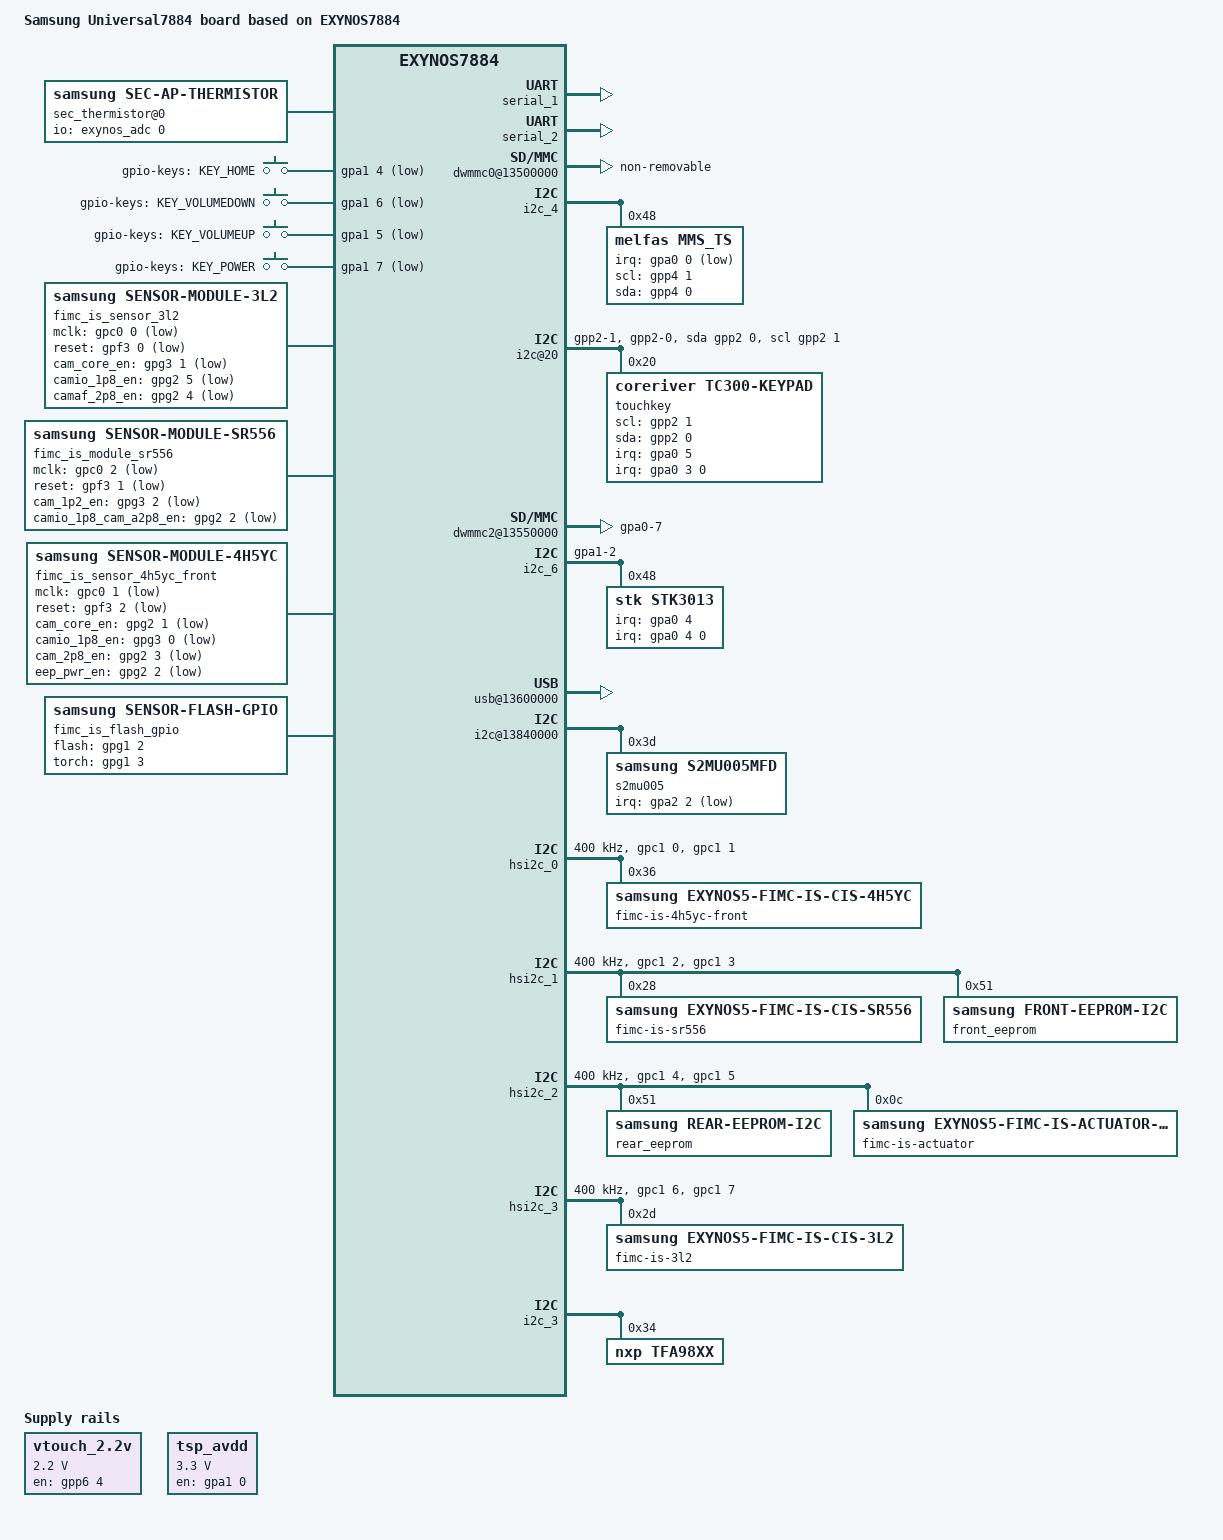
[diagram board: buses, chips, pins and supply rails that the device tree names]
/*
 * SAMSUNG UNIVERSAL7885 board device tree source
 *
 * Copyright (c) 2013 Samsung Electronics Co., Ltd.
 *		http://www.samsung.com
 *
 * This program is free software; you can redistribute it and/or modify
 * it under the terms of the GNU General Public License version 2 as
 * published by the Free Software Foundation.
 */

#include "exynos7884-rmem.dtsi"
#include "exynos7885.dtsi"
#include "display-lcd_j7duo_common.dtsi"
#include "modem-s327ap-sipc-pdata.dtsi"
#include "battery_data_j7duolte_common.dtsi"
#include "exynos7884-j7duolte_motor.dtsi"
#include "exynos7884-mali.dtsi"
/ {
	model = "Samsung Universal7884 board based on EXYNOS7884";
	compatible = "samsung,exynos7884", "samsung,Universal7884";

	ect {
		parameter_address = <0x90000000>;
		parameter_size = <0x19000>;
	};

	memory@80000000 {
		device_type = "memory";
		reg = <0x0 0x80000000 0x3DA00000>;
	};

	memory@C0000000 {
		device_type = "memory";
		reg = <0x0 0xC0000000 0x40000000>;
	};

	memory@880000000 {
		device_type = "memory";
		reg = <0x00000008 0x80000000 0x0>;
	};

	chosen {
		bootargs = "console=ram root=/dev/ram0 clk_ignore_unused androidboot.hardware=samsungexynos7885 androidboot.selinux=permissive ess_setup=0x86000000 androidboot.debug_level=0x4948";
		linux,initrd-start = <0x84000000>;
		linux,initrd-end = <0x840FFFFF>;
	};

	fixed-rate-clocks {
		oscclk {
			compatible = "samsung,exynos7885-oscclk";
			clock-frequency = <26000000>;
		};
	};

#if (ANDROID_VERSION >= 80000)
	firmware {
		android {
			compatible = "android,firmware";
			fstab {
				compatible = "android,fstab";
				system {
					compatible = "android,system";
					dev = "/dev/block/platform/13500000.dwmmc0/by-name/SYSTEM";
					type = "ext4";
					mnt_flags = "ro";
					fsmgr_flags = "wait,verify";
				};
				vendor {
					compatible = "android,vendor";
					dev = "/dev/block/platform/13500000.dwmmc0/by-name/VENDOR";
					type = "ext4";
					mnt_flags = "ro";
					fsmgr_flags = "wait,verify";
				};
				odm {
					compatible = "android,odm";
					dev = "/dev/block/platform/13500000.dwmmc0/by-name/ODM";
					type = "ext4";
					mnt_flags = "ro";
					fsmgr_flags = "wait,verify";
				};
			};
		};
	};
#endif

	/* USI MODE SETTINGS
	 * usi_mode = "hsi2c0" or "hsi2c1" or "spi" or "uart"
	 * or "hsi2c0_hsi2c1" or "uart_hsi2c1"
	 */
	usi_0: usi@10032000 {
		usi_mode = "spi";
		status = "okay";
	};

	usi_1: usi@10032004 {
		usi_mode = "spi";
		status = "okay";
	};

	usi_2: usi@10032008 {
		usi_mode = "hsi2c1";
		status = "okay";
	};

	serial_1: uart@13810000 {
		status = "okay";
	};

	pinctrl@11CB0000 {
		pmic_irq: pmic-irq {
			samsung,pins = "gpa2-0";
			samsung,pin-pud = <3>;
			samsung,pin-drv = <3>;
		};
	};

	pinctrl@139B0000 {
		/* Warm reset information from AP */
		pm_wrsti: pm-wrsti {
			samsung,pins = "gpg1-1";
			samsung,pin-con-pdn = <3>;
		};
		mot_en: mot_enable {
			samsung,pins = "gpp0-3";
			samsung,pin-pud = <1>;
			samsung,pin-drv = <0>;
		};
	};

	pinctrl@139B0000 {
		/* SPI_FP */
		spi1_bus_inactive: spi1-bus-inactive {
			samsung,pins = "gpp6-0", "gpp6-1", "gpp6-2", "gpp6-3";
			samsung,pin-function = <0>;
			samsung,pin-pud = <1>;
			samsung,pin-drv = <2>;
		};
		spi1_clk: spi1-clk {
			samsung,pins = "gpp6-0";
			samsung,pin-function = <2>;
			samsung,pin-pud = <1>;
			samsung,pin-drv = <2>;
		};
		spi1_cs: spi1-cs {
			samsung,pins = "gpp6-1";
			samsung,pin-function = <2>;
			samsung,pin-pud = <3>;
			samsung,pin-drv = <2>;
		};
		spi1_miso: spi1-miso {
			samsung,pins = "gpp6-2";
			samsung,pin-function = <2>;
			samsung,pin-pud = <0>;
			samsung,pin-drv = <2>;
		};
		spi1_mosi: spi1-mosi {
			samsung,pins = "gpp6-3";
			samsung,pin-function = <2>;
			samsung,pin-pud = <1>;
			samsung,pin-drv = <2>;
		};
	};

	but_zones: but_zones {
		#list-but-cells = <3>;
	};

	speedy@11CE0000 {
		status = "okay";
		audio_codec_cod3035x: cod3035x@03 {
		compatible = "codec,cod3035x";
		reg = <0x03>;
		i2c-speedy-address;
		vdd-supply = <&l36_reg>;
		pinctrl-names = "default";
		mic-bias1-voltage = <1>;
		mic-bias2-voltage = <1>;
		mic-bias-ldo-voltage = <3>;
		use-btn-adc-mode;
		use-det-gdet-adc-mode = <1>;
		jack-imp-tuning = <9>;
		io-channels = <&exynos_adc 3>,<&exynos_adc 7>;
		io-channel-names = "adc-ear","adc-gdet";
		#io-channel-cells = <1>;
		io-channel-ranges;
		but-zones-list = <&but_zones 226 0 257>,
		<&but_zones 582 258 333>,
		<&but_zones 115 334 524>,
		<&but_zones 114 525 9999>;
		mic-adc-range = <1351>;
		};

		s2mpu08mfd@00 {
			compatible = "samsung,s2mpu08mfd";
			acpm-ipc-channel = <2>;
			i2c-speedy-address;
			s2mpu08,wakeup = "enabled";
			s2mpu08,irq-gpio = <&gpa2 0 0>;
			reg = <0x00>;
			interrupts = <2 0 0>;
			interrupt-parent = <&gpa2>;
			pinctrl-names = "default";
			pinctrl-0 = <&pmic_irq &pm_wrsti>;
			/* RTC: wtsr/smpl */
			wtsr_en = "enabled"; /* enable */
			smpl_en = "enabled"; /* enable */
			wtsr_timer_val = <3>;	/* 1000ms */
			smpl_timer_val = <4>;	/* 500ms */
			check_jigon = <0>; /* do not check jigon */
			/* RTC: If it's first boot, reset rtc to 1/1/2018 12:00:00(Mon) */
			init_time,sec = <0>;
			init_time,min = <0>;
			init_time,hour = <12>;
			init_time,mday = <1>;
			init_time,mon = <0>;
			init_time,year = <118>;
			init_time,wday = <1>;

			samsung,codec-interrupt = <&audio_codec_cod3035x>;

			regulators {
				b1_reg: BUCK1 {
					regulator-name = "vdd_mif";
					regulator-min-microvolt = <500000>;
					regulator-max-microvolt = <1100000>;
					regulator-always-on;
					regulator-ramp-delay = <12000>;
					regulator-initial-mode = <2>;
				};

				b2_reg: BUCK2 {
					regulator-name = "vdd_cpucl0";
					regulator-min-microvolt = <500000>;
					regulator-max-microvolt = <1300000>;
					regulator-always-on;
					regulator-ramp-delay = <12000>;
					regulator-initial-mode = <1>;
				};

				b3_reg: BUCK3 {
					regulator-name = "vdd_cpucl1_2";
					regulator-min-microvolt = <500000>;
					regulator-max-microvolt = <1300000>;
					regulator-always-on;
					regulator-ramp-delay = <12000>;
					regulator-initial-mode = <1>;
				};

				b4_reg: BUCK4 {
					regulator-name = "vdd_int";
					regulator-min-microvolt = <500000>;
					regulator-max-microvolt = <1200000>;
					regulator-always-on;
					regulator-ramp-delay = <12000>;
					regulator-initial-mode = <2>;
				};

				b5_reg: BUCK5 {
					regulator-name = "vdd_g3d";
					regulator-min-microvolt = <500000>;
					regulator-max-microvolt = <1300000>;
					regulator-always-on;
					regulator-ramp-delay = <12000>;
					regulator-initial-mode = <1>;
				};

				b6_reg: BUCK6 {
					regulator-name = "vdd2_mem";
					regulator-min-microvolt = <500000>;
					regulator-max-microvolt = <1300000>;
					regulator-always-on;
					regulator-ramp-delay = <12000>;
					regulator-initial-mode = <3>;
				};

				b7_reg: BUCK7 {
					regulator-name = "vdd_lldo";
					regulator-min-microvolt = <1200000>;
					regulator-max-microvolt = <1500000>;
					regulator-always-on;
					regulator-boot-on;
					regulator-ramp-delay = <12000>;
					regulator-initial-mode = <3>;
				};

				b8_reg: BUCK8 {
					regulator-name = "vdd_mldo";
					regulator-min-microvolt = <1800000>;
					regulator-max-microvolt = <2100000>;
					regulator-always-on;
					regulator-ramp-delay = <12000>;
					regulator-initial-mode = <3>;
				};

				l1_reg: LDO1 {
					regulator-name = "vdd_ldo1";
					regulator-min-microvolt = <700000>;
					regulator-max-microvolt = <1300000>;
					regulator-always-on;
					regulator-ramp-delay = <12000>;
					regulator-initial-mode = <3>;
				};

				l2_reg: LDO2 {
					regulator-name = "vqmmc";
					regulator-min-microvolt = <1800000>;
					regulator-max-microvolt = <3375000>;
					regulator-ramp-delay = <12000>;
				};

				l3_reg: LDO3 {
					regulator-name = "vdd_ldo3";
					regulator-min-microvolt = <800000>;
					regulator-max-microvolt = <1950000>;
					regulator-always-on;
					regulator-ramp-delay = <12000>;
					regulator-initial-mode = <3>;
				};

				l4_reg: LDO4 {
					regulator-name = "vdd_ldo4";
					regulator-min-microvolt = <500000>;
					regulator-max-microvolt = <1300000>;
					regulator-always-on;
					regulator-ramp-delay = <12000>;
					regulator-initial-mode = <1>;
				};

				l5_reg: LDO5 {
					regulator-name = "vdd_ldo5";
					regulator-min-microvolt = <800000>;
					regulator-max-microvolt = <1350000>;
					regulator-always-on;
					regulator-ramp-delay = <12000>;
					regulator-initial-mode = <1>;
				};

				l6_reg: LDO6 {
					regulator-name = "vdd_ldo6";
					regulator-min-microvolt = <800000>;
					regulator-max-microvolt = <1350000>;
					regulator-always-on;
					regulator-ramp-delay = <12000>;
					regulator-initial-mode = <1>;
				};

				l7_reg: LDO7 {
					regulator-name = "vdd_ldo7";
					regulator-min-microvolt = <800000>;
					regulator-max-microvolt = <1950000>;
					regulator-always-on;
					regulator-ramp-delay = <12000>;
					regulator-initial-mode = <1>;
				};

				l8_reg: LDO8 {
					regulator-name = "vdd_ldo8";
					regulator-min-microvolt = <500000>;
					regulator-max-microvolt = <1300000>;
					regulator-always-on;
					regulator-ramp-delay = <12000>;
					regulator-initial-mode = <1>;
				};

				l9_reg: LDO9 {
					regulator-name = "vdd_ldo9";
					regulator-min-microvolt = <500000>;
					regulator-max-microvolt = <1300000>;
					regulator-always-on;
					regulator-ramp-delay = <12000>;
					regulator-initial-mode = <1>;
				};

				l10_reg: LDO10 {
					regulator-name = "vdd_ldo10";
					regulator-min-microvolt = <500000>;
					regulator-max-microvolt = <1300000>;
					regulator-always-on;
					regulator-ramp-delay = <12000>;
					regulator-initial-mode = <1>;
				};

				l11_reg: LDO11 {
					regulator-name = "vdd_ldo11";
					regulator-min-microvolt = <500000>;
					regulator-max-microvolt = <1300000>;
					regulator-always-on;
					regulator-ramp-delay = <12000>;
					regulator-initial-mode = <1>;
				};

				l12_reg: LDO12 {
					regulator-name = "vdd_ldo12";
					regulator-min-microvolt = <800000>;
					regulator-max-microvolt = <1350000>;
					regulator-always-on;
					regulator-ramp-delay = <12000>;
					regulator-initial-mode = <1>;
				};

				l13_reg: LDO13 {
					regulator-name = "vdd_ldo13";
					regulator-min-microvolt = <800000>;
					regulator-max-microvolt = <1950000>;
					regulator-always-on;
					regulator-ramp-delay = <12000>;
					regulator-initial-mode = <1>;
				};

				l14_reg: LDO14 {
					regulator-name = "vdd_ldo14";
					regulator-min-microvolt = <1800000>;
					regulator-max-microvolt = <3375000>;
					regulator-always-on;
					regulator-ramp-delay = <12000>;
					regulator-initial-mode = <1>;
				};

				l33_reg: LDO33 {
					regulator-name = "vdd_ldo33";
					regulator-min-microvolt = <800000>;
					regulator-max-microvolt = <1950000>;
					regulator-always-on;
					regulator-ramp-delay = <12000>;
					regulator-initial-mode = <3>;
				};

				l34_reg: LDO34 {
					regulator-name = "vdd_ldo34";
					regulator-min-microvolt = <1800000>;
					regulator-max-microvolt = <3375000>;
					regulator-always-on;
					regulator-ramp-delay = <12000>;
					regulator-initial-mode = <3>;
				};

				l35_reg: LDO35 {
					regulator-name = "vmmc";
					regulator-min-microvolt = <1800000>;
					regulator-max-microvolt = <3000000>;
					regulator-ramp-delay = <12000>;
				};

				l36_reg: LDO36 {
					regulator-name = "vdd_ldo36";
					regulator-min-microvolt = <800000>;
					regulator-max-microvolt = <1950000>;
					regulator-always-on;
					regulator-ramp-delay = <12000>;
					regulator-initial-mode = <3>;
				};

				l37_reg: LDO37 {
					regulator-name = "vdd_ldo37";
					regulator-min-microvolt = <1800000>;
					regulator-max-microvolt = <3375000>;
					regulator-always-on;
					regulator-ramp-delay = <12000>;
					regulator-initial-mode = <3>;
				};
			};
		};
	};

	sec_thermistor@0 {
		compatible = "samsung,sec-ap-thermistor";
		status = "okay";

		adc_array = <265 314 376 437 511 602 728 789 845 896
				990 1087 1157 1225 1345 1368 1425 1484 1516 1739 1953 2176 2412
				2491 2609 2684 2723 2822 2912 3005 3107 3163 3307 3397 3484>;
		temp_array = <900 850 800 750 700 650 600 570 550 530
				500 470 450 430 410 400 380 360 350 300 250 200 150
				130 100 80 70 50 30 0 (-30) (-50) (-100) (-150) (-200)>;
		io-channels = <&exynos_adc 0>;
		io-channel-names = "adc-ap-temp";
		io-channel-ranges;
	};

	exynos_rgt {
		compatible = "samsung,exynos-rgt";
	};

	serial_2: uart@13820000 {
		samsung,uart-logging;
		status = "okay";
	};

	pinctrl@11CB0000 {
		dwmmc2_cd_ext_irq: dwmmc2_cd_ext_irq {
			samsung,pins = "gpa0-7";
			samsung,pin-function = <0xf>;
			samsung,pin-pud = <0>;
			samsung,pin-drv = <3>;
		};
	};

	dwmmc0@13500000 {
		status = "okay";
		num-slots = <1>;
		broken-cd;
		fixed_voltage;
		supports-highspeed;
		mmc-ddr-1_8v;
		mmc-hs200-1_8v;
		mmc-hs400-1_8v;
		supports-8bit;
		supports-cmd23;
		supports-erase;
		supports-hs400-enhanced-strobe;
		card-init-hwacg-ctrl;
		support-cmdq;
		qos-dvfs-level = <100000>;
		fifo-depth = <0x40>;
		non-removable;
		desc-size = <4>;
		card-detect-delay = <200>;
		samsung,dw-mshc-ciu-div = <3>;
		samsung,dw-mshc-txdt-crc-timer-fastlimit = <0x13>;
		samsung,dw-mshc-txdt-crc-timer-initval = <0x15>;
		samsung,dw-mshc-hs400-delay-line = <0x60>;
		samsung,dw-mshc-sdr-timing = <3 0 4 0>;
		samsung,dw-mshc-ddr-timing = <3 0 4 2>;
		samsung,dw-mshc-hs200-timing = <3 0 3 0>;
		samsung,dw-mshc-hs400-timing = <1 0 2 0>;
		samsung,dw-mshc-hs400-ulp-timing = <3 0 2 0>;

		num-ref-clks = <12>;
		ciu_clkin = <25 50 50 25 50 100 200 50 50 200 200 200>;

		/* Swapping clock drive strength */
		clk-drive-number = <4>;
		pinctrl-names = "default",
			"fast-slew-rate-1x",
			"fast-slew-rate-2x",
			"fast-slew-rate-3x",
			"fast-slew-rate-4x";
		pinctrl-0 = <&sd0_clk &sd0_cmd &sd0_rdqs &sd0_bus1 &sd0_bus4 &sd0_bus8>;
		pinctrl-1 = <&sd0_clk_fast_slew_rate_1x>;
		pinctrl-2 = <&sd0_clk_fast_slew_rate_2x>;
		pinctrl-3 = <&sd0_clk_fast_slew_rate_3x>;
		pinctrl-4 = <&sd0_clk_fast_slew_rate_4x>;
		slot@0 {
			reg = <0>;
			bus-width = <8>;
		};

	};

	dwmmc1@13510000 {
		status = "disabled";
		num-slots = <1>;
		channel = <1>;
		fixed_voltage;
		enable-cclk-on-suspend;
		caps-control;
		supports-highspeed;
		supports-4bit;
		keep-power-in-suspend;
		pm-ignore-notify;
		card-detect-type-external;
		use-broken-voltage;
		fifo-depth = <0x40>;
		card-detect-delay = <200>;
		qos-dvfs-level = <100000>;
		data-timeout = <200>;
		hto-timeout = <80>;
		samsung,dw-mshc-ciu-div = <3>;
		samsung,dw-mshc-sdr-timing = <3 0 2 0>;
		samsung,dw-mshc-ddr-timing = <3 0 2 1>;
		samsung,dw-mshc-sdr50-timing = <3 0 4 2>;
		samsung,dw-mshc-sdr104-timing = <3 0 3 0>;

		num-ref-clks = <9>;
		ciu_clkin = <25 50 50 25 50 100 200 50 50>;

		clk-drive-number = <4>;
		pinctrl-names = "default",
			"fast-slew-rate-1x",
			"fast-slew-rate-2x",
			"fast-slew-rate-3x",
			"fast-slew-rate-4x";
		pinctrl-0 = <&sd1_clk &sd1_cmd &sd1_bus1 &sd1_bus4>;
		pinctrl-1 = <&sd1_clk_fast_slew_rate_1x>;
		pinctrl-2 = <&sd1_clk_fast_slew_rate_2x>;
		pinctrl-3 = <&sd1_clk_fast_slew_rate_3x>;
		pinctrl-4 = <&sd1_clk_fast_slew_rate_4x>;
		slot@0 {
			reg = <0>;
			bus-width = <4>;
		};
	};

	pinctrl@139B0000 {
		i2c4_bus: i2c4-bus {
			samsung,pins = "gpp4-1", "gpp4-0";
			samsung,pin-function = <2>;
			samsung,pin-pud = <0>;
			samsung,pin-drv = <0>;
		};
		i2c_on: i2c-on {
			samsung,pins = "gpp4-1", "gpp4-0";
			samsung,pin-function = <2>;
			samsung,pin-pud = <0>;
			samsung,pin-drv = <0>;
		};
		i2c_off: i2c-off {
			samsung,pins = "gpp4-1", "gpp4-0";
			samsung,pin-function = <2>;
			samsung,pin-pud = <1>;
			samsung,pin-drv = <0>;
		};
		cfg_i2c: cfg-i2c {
			samsung,pins = "gpp2-1", "gpp2-0";
			samsung,pin-function = <2>;
			samsung,pin-pud = <0>;
			samsung,pin-drv = <0>;
		};
		cfg_gpio: cfg-gpio {
			samsung,pins = "gpp2-1", "gpp2-0";
			samsung,pin-function = <0>;
			samsung,pin-pud = <0>;
			samsung,pin-drv = <0>;
		};
	};

	pinctrl@11CB0000 {
		attn_irq: attn-irq {
			samsung,pins = "gpa0-0";
			samsung,pin-function = <0xf>;
			samsung,pin-pud = <0>;
			samsung,pin-drv = <0>;
		};
		attn_input: attn-input {
			samsung,pins = "gpa0-0";
			samsung,pin-function = <0>;
			samsung,pin-pud = <0>;
		};
		tkey_irq: tkey-irq {
			samsung,pins = "gpa0-5";
			samsung,pin-function = <0xf>;
			samsung,pin-pud = <0>;
			samsung,pin-drv = <0>;
		};
		tkey_input: tkey-input {
			samsung,pins = "gpa0-5";
			samsung,pin-function = <0>;
			samsung,pin-pud = <0>;
			samsung,pin-drv = <0>;
		};
	};

	touchkey_ldo_en {
		compatible = "regulator-fixed";
		regulator-name = "vtouch_2.2v";
		regulator-min-microvolt = <2200000>;
		regulator-max-microvolt = <2200000>;
		gpio = <&gpp6 4 0>;
		enable-active-high;
		regulator-boot-on;
	};

	tsp_ldo_en {
		compatible = "regulator-fixed";
		regulator-name = "tsp_avdd";
		regulator-min-microvolt = <3300000>;
		regulator-max-microvolt = <3300000>;
		gpio = <&gpa1 0 0>;
		enable-active-high;
		regulator-boot-on;
	};

	i2c_4: i2c@13870000 {
		samsung,i2c-sda-delay = <100>;
		samsung,i2c-max-bus-freq = <400000>;
		status = "okay";
		#address-cells = <1>;
		#size-cells = <0>;
		mms_ts@48 {
			compatible = "melfas,mms_ts";
			reg = <0x48>;
			pinctrl-names = "on_state", "off_state";
			pinctrl-0 = <&attn_irq>;
			pinctrl-1 = <&attn_input>;
			melfas,vdd_en = "tsp_avdd";
			melfas,irq-gpio = <&gpa0 0 0xf>;
			melfas,scl-gpio = <&gpp4 1 2>;
			melfas,sda-gpio = <&gpp4 0 2>;
			melfas,max_x = <720>;
			melfas,max_y = <1280>;
			melfas,fw_name = "tsp_melfas/mms438_j7duo.fw";
			melfas,factory_item_version = <1>;
		};
	};

	i2c@20 {
		compatible = "i2c-gpio";
		gpios = <&gpp2 0 0 &gpp2 1 0>;
		i2c-gpio,delay-us = <5>;
		pinctrl-names = "default","on_i2c","off_i2c";
		pinctrl-0 = <&cfg_i2c>;
		pinctrl-1 = <&cfg_i2c>;
		pinctrl-2 = <&cfg_gpio>;
		#address-cells = <1>;
		#size-cells = <0>;
		touchkey@20 {
			pinctrl-names = "default","on_irq","off_irq";
			pinctrl-0 = <&tkey_irq>;
			pinctrl-1 = <&tkey_irq>;
			pinctrl-2 = <&tkey_input>;
			compatible = "coreriver,tc300-keypad";
			reg = <0x20>;
			interrupts = <3 0 0>;
			interrupt-parent = <&gpa0>;
			coreriver,scl-gpio = <&gpp2 1 0>;
			coreriver,sda-gpio = <&gpp2 0 0>;
			coreriver,irq-gpio = <&gpa0 5 0>;
			coreriver,i2c-gpio = "true";
			coreriver,boot-on-ldo = "true";
			coreriver,regulator_ic = "vtouch_2.2v";
			coreriver,sensing_ch_num = <0x4>;
			coreriver,tsk_ic_num = <0x1>; /* tc300k : 0x00, tc350k : 0x01 */
			coreriver,use_bitmap = <1>;
			coreriver,fw_name = "coreriver/tc350k_j7duo.fw";
		};
	};

	pinctrl@139B0000 {
		fimc_is_flash_host: fimc-is-flash-host {
			samsung,pins = "gpg1-2", "gpg1-3"; /* cam_flash_en, cam_torch_en */
			samsung,pin-function = <1>; /* 0: input, 1:output*/
			samsung,pin-pud = <0>; /* 0: NP, 1: PD, 2: reserved 3:PU */
			samsung,pin-drv = <0>;
		};
		fimc_is_flash_is: fimc-is-flash-is {
			samsung,pins = "gpg1-2", "gpg1-3"; /* cam_flash_en, cam_torch_en */
			samsung,pin-function = <0>; /* 0: input, 1:output*/
			samsung,pin-pud = <1>; /* 0: NP, 1: PD, 2: reserved 3:PU */
			samsung,pin-drv = <0>;
		};
	};

	dwmmc2@13550000 {
		status = "okay";
		num-slots = <1>;
		supports-4bit;
		supports-cmd23;
		supports-erase;
		supports-highspeed;
		sd-uhs-sdr50;
		sd-uhs-sdr104;
		card-detect-gpio;
		bypass-for-allpass;
		card-init-hwacg-ctrl;
		skip-init-mmc-scan;
		qos-dvfs-level = <100000>;
		qos-sd3-dvfs-level = <267000>;
		fifo-depth = <0x40>;
		desc-size = <4>;
		card-detect-delay = <200>;
		data-timeout = <200>;
		hto-timeout = <80>;
		samsung,dw-mshc-ciu-div = <3>;
		clock-frequency = <800000000>;
		samsung,dw-mshc-sdr-timing = <3 0 2 0>;
		samsung,dw-mshc-ddr-timing = <3 0 2 1>;
		samsung,dw-mshc-sdr50-timing = <3 0 4 2>;
		samsung,dw-mshc-sdr104-timing = <3 0 3 0>;

		num-ref-clks = <9>;
		ciu_clkin = <25 50 50 25 50 100 200 50 50>;

		/* Swapping clock drive strength */
		clk-drive-number = <4>;
		pinctrl-names = "default",
			"fast-slew-rate-1x",
			"fast-slew-rate-2x",
			"fast-slew-rate-3x",
			"fast-slew-rate-4x";
		pinctrl-0 = <&sd2_clk &sd2_cmd &sd2_bus1 &sd2_bus4 &dwmmc2_cd_ext_irq>;
		pinctrl-1 = <&sd2_clk_fast_slew_rate_1x>;
		pinctrl-2 = <&sd2_clk_fast_slew_rate_2x>;
		pinctrl-3 = <&sd2_clk_fast_slew_rate_3x>;
		pinctrl-4 = <&sd2_clk_fast_slew_rate_4x>;

		card-detect = <&gpa0 7 0xf>;
		sec-sd-slot-type = <1>;

		slot@0 {
			reg = <0>;
			bus-width = <4>;
			disable-wp;
		};

	};

	i2c@13890000 {
		status = "okay";
		#address-cells = <1>;
		#size-cells = <0>;
	};

	pinctrl@11CB0000 {
		key_power: key-power {
			samsung,pins = "gpa1-7";
			samsung,pin-function = <0xf>;
			samsung,pin-pud = <0>;
			samsung,pin-drv = <0>;
		};

		key_home: key-home {
			samsung,pins = "gpa1-4";
			samsung,pin-function = <0xf>;
			samsung,pin-pud = <0>;
			samsung,pin-drv = <0>;
		};

		key_voldown: key-voldown {
			samsung,pins = "gpa1-6";
			samsung,pin-function = <0xf>;
			samsung,pin-pud = <0>;
			samsung,pin-drv = <0>;
		};

		key_volup: key-volup {
			samsung,pins = "gpa1-5";
			samsung,pin-function = <0xf>;
			samsung,pin-pud = <0>;
			samsung,pin-drv = <0>;
		};
	};

	gpio_keys {
		status = "okay";
		compatible = "gpio-keys";
		#address-cells = <1>;
		#size-cells = <0>;
		pinctrl-names = "default";
		pinctrl-0 = <&key_home &key_voldown &key_volup &key_power>;
		button@1 {
			label = "gpio-keys: KEY_HOME";
			interrupts = <4 0 0>;
			interrupt-parent = <&gpa1>;
			linux,code = <172>;
			gpios = <&gpa1 4 0xf>;
			gpio-key,wakeup = <1>;
		};
		button@2 {
			label = "gpio-keys: KEY_VOLUMEDOWN";
			interrupts = <6 0 0>;
			interrupt-parent = <&gpa1>;
			linux,code = <114>;
			gpios = <&gpa1 6 0xf>;
		};
		button@3 {
			label = "gpio-keys: KEY_VOLUMEUP";
			interrupts = <5 0 0>;
			interrupt-parent = <&gpa1>;
			linux,code = <115>;
			gpios = <&gpa1 5 0xf>;
		};
		button@4 {
			label = "gpio-keys: KEY_POWER";
			interrupts = <7 0 0>;
			interrupt-parent = <&gpa1>;
			linux,code = <116>;
			gpios = <&gpa1 7 0xf>;
			gpio-key,wakeup = <1>;
		};

	};

	usb@13600000 {
		status = "okay";
		dwc3 {
			dr_mode = "otg";
			maximum-speed = "high-speed";
			snps,quirk-frame-length-adjustment = <0x20>;
		};
	};

	phy@135D0000 {
		status = "okay";
		hs_tune_param = <&usb_hs_tune>;
	};

	usb_hs_tune:hs_tune {
		hs_tune_cnt = <12>;

		/* value = <device host> */
		hs_tune1 {
			tune_name = "tx_vref";
			tune_value = <0xd 0x1>;
		};

		hs_tune2 {
			tune_name = "tx_pre_emp";
			tune_value = <0x3 0x3>;
		};

		hs_tune3 {
			tune_name = "tx_pre_emp_plus";
			tune_value = <0x0 0x0>;
		};

		hs_tune4 {
			tune_name = "tx_res";
			tune_value = <0x3 0x3>;
		};

		hs_tune5 {
			tune_name = "tx_rise";
			tune_value = <0x3 0x3>;
		};

		hs_tune6 {
			tune_name = "tx_hsxv";
			tune_value = <0x3 0x3>;
		};

		hs_tune7 {
			tune_name = "tx_fsls";
			tune_value = <0x3 0x3>;
		};

		hs_tune8 {
			tune_name = "rx_sqrx";
			tune_value = <0x7 0x7>;
		};

		hs_tune9 {
			tune_name = "compdis";
			tune_value = <0x7 0x7>;
		};

		hs_tune10 {
			tune_name = "otg";
			tune_value = <0x2 0x2>;
		};

		hs_tune11 {
		/* true : 1, false: 0 */
		/* <enable_user_imp user_imp_value> */
			tune_name = "enable_user_imp";
			tune_value = <0x0 0x0>;
		};

		hs_tune12 {
		/* PHY clk : 1 , FREE clk : 0 */
			tune_name = "is_phyclock";
			tune_value = <0x1 0x1>;
		};
	};

	mailbox_cp: mcu_ipc@12080000 {
		compatible = "samsung,exynos-shd-ipc-mailbox";
		reg = <0x0 0x12080000 0x180>;
		mcu,name = "mcu_ipc_cp";
		mcu,id = <0>;
		interrupts = <0 55 0 >; /* MAILBOX_CP_TO_AP SPI Number */
	};

	mif_pdata {
		pinctrl-names = "default";
		mif,gpio_ds_det = <&gpa0 1 0>;
	};

	mailbox_gnss: mcu_ipc@120D0000 {
		compatible = "samsung,exynos-shd-ipc-mailbox";
		reg = <0x0 0x120D0000 180>;
		mcu,name = "mcu_ipc_gnss";
		mcu,id = <1>;
		interrupts = <GIC_SPI 56 IRQ_TYPE_NONE>;
	};

	gnss_pdata {
		status = "okay";

		compatible = "samsung,gnss_shdmem_if";
		shmem,name = "KEPLER";
		shmem,device_node_name = "gnss_ipc";

		/* ACTIVE WATCHDOG WAKEUP */
		interrupts = <GIC_SPI 20 IRQ_TYPE_NONE>,
			     <GIC_SPI 165 IRQ_TYPE_NONE>,
			     <GIC_SPI 164 IRQ_TYPE_NONE>;
		interrupt-names = "ACTIVE", "WATCHDOG", "WAKEUP";

		memory-region = <&gnss_reserved>;
		mbox_info = <&mailbox_gnss>;

		mbx,int_ap2gnss_bcmd = <0>;
		mbx,int_ap2gnss_req_fault_info = <1>;
		mbx,int_ap2gnss_ipc_msg = <2>;
		mbx,int_ap2gnss_ack_wake_set = <3>;
		mbx,int_ap2gnss_ack_wake_clr = <4>;

		mbx,irq_gnss2ap_bcmd = <0>;
		mbx,irq_gnss2ap_rsp_fault_info = <1>;
		mbx,irq_gnss2ap_ipc_msg = <2>;
		mbx,irq_gnss2ap_req_wake_clr = <4>;

		mbx,reg_bcmd_ctrl = <0>, <1>, <2>, <3>;

		reg_rx_ipc_msg = <1 5>;
		reg_tx_ipc_msg = <1 4>;
		reg_rx_head = <1 3>;
		reg_rx_tail = <1 2>;
		reg_tx_head = <1 1>;
		reg_tx_tail = <1 0>;
		fault_info = <1 0x200000 0x180000>;

		shmem,ipc_offset = <0x380000>;
		shmem,ipc_size = <0x80000>;
		shmem,ipc_reg_cnt = <32>;

		/* Use the following value when can't boot with mailbox */
		shmem,boot_without_mbox = <1>; /* Default : 0 */
	};

	usb_notifier {
		compatible = "samsung,usb-notifier";
		udc = <&udc>;
	};

	i2c@13840000{
		status = "okay";
		s2mu005@3D {
			status = "okay";
			compatible = "samsung,s2mu005mfd";
			reg = <0x3D>;
			pinctrl-names = "default";
			pinctrl-0 = <&if_pmic_irq>;
			s2mu005,irq-gpio = <&gpa2 2 1>;
			s2mu005,wakeup;

			leds {
				flash-gpio = <&gpg1 2 0>;
				torch-gpio = <&gpg1 3 0>;

				flash_current = <1200>;
				preflash_current = <150>;
				movie_current = <175>; /*unused*/
				torch_current = <75>;
				factory_current = <300>;
				front_torch_current = <50>;

				status = "okay";
				s2mu005-leds1 {
					ledname = "leds-sec1";
					id = <0>;
					timeout = <15>; /* use gpio */
				};

				s2mu005-leds2 {
					ledname = "leds-sec2";
					id = <1>;
					timeout = <15>; /* use gpio */
				};
			};
		};
	};

	fimc_is@14440000 {
		pinctrl-names = "default","release";
		pinctrl-0 = <&fimc_is_mclk0_out &fimc_is_mclk1_out &fimc_is_mclk2_out>;
		pinctrl-1 = <>;

		vender {
			rear_sensor_id = <8>;			/* SENSOR_NAME_S5K3L2 */
			front_sensor_id = <24>;		/* SENSOR_NAME_S5K4H5YC */
			rear2_sensor_id = <209>;	/* SENSOR_NAME_SR556 */
			need_i2c_config;
			use_module_check;
			check_sensor_vendor;
			//skip_cal_loading;

			max_camera_num = <3>;
			camera_info0 {				/* 0 : rear - S5K3L2 */
				isp = <0>;				/* 0 : INT , 1 : EXT , 2 : SOC */
				cal_memory = <2>;			/* 0 : N , 1 : FROM , 2 : EEPROM , 3 : OTP  */
				read_version = <0>;		/* 0 : SYSFS , 1 : CAMON */
				core_voltage = <0>;		/* 0 : N , 1 : Y  */
				upgrade = <0>;			/* 0 : N , 1 : SYSFS , 2 : CAMON */
				companion = <0>;			/* 0 : N , 1 : Y  */
				ois = <0>;				/* 0 : N , 1 : Y  */
				valid = <1>;				/* 0 : INVALID, 1 : VALID */
				dual_open = <0>;		/* 0 : SINGLE_OPEN , 1 : DUAL_OPEN */
			};
			camera_info1 {				/* 1 : front1 - S5K4H5YC */
				isp = <0>;				/* 0 : INT , 1 : EXT , 2 : SOC */
				cal_memory = <2>;			/* 0 : N , 1 : FROM , 2 : EEPROM , 3 : OTP  */
				read_version = <0>;		/* 0 : SYSFS , 1 : CAMON */
				core_voltage = <0>;		/* 0 : N , 1 : Y  */
				upgrade = <0>;			/* 0 : N , 1 : SYSFS , 2 : CAMON */
				companion = <0>;			/* 0 : N , 1 : Y  */
				ois = <0>;				/* 0 : N , 1 : Y  */
				valid = <1>;				/* 0 : INVALID, 1 : VALID */
				dual_open = <0>;		/* 0 : SINGLE_OPEN , 1 : DUAL_OPEN */
			};
			camera_info2 {				/* 1 : rear2 - SR556 */
				isp = <0>;				/* 0 : INT , 1 : EXT , 2 : SOC */
				cal_memory = <2>;			/* 0 : N , 1 : FROM , 2 : EEPROM , 3 : OTP  */
				read_version = <0>;		/* 0 : SYSFS , 1 : CAMON */
				core_voltage = <0>;		/* 0 : N , 1 : Y  */
				upgrade = <0>;			/* 0 : N , 1 : SYSFS , 2 : CAMON */
				companion = <0>;			/* 0 : N , 1 : Y  */
				ois = <0>;				/* 0 : N , 1 : Y  */
				valid = <1>;				/* 0 : INVALID, 1 : VALID */
				dual_open = <1>;		/* 0 : SINGLE_OPEN , 1 : DUAL_OPEN */
			};

		};

		fimc_is_dvfs {
			/* TODO: DVFS level set */
			#define DVFS_INT_L0 533000
			#define DVFS_INT_L1 333000
			#define DVFS_INT_L2 267000
			#define DVFS_INT_L3 133000
			#define DVFS_INT_L4 107000

			#define DVFS_CAM_L0 690000
			#define DVFS_CAM_L1 680000
			#define DVFS_CAM_L2 670000
			#define DVFS_CAM_L3 660000
			#define DVFS_CAM_L4 650000

			#define DVFS_MIF_L0 2093000
			#define DVFS_MIF_L1 2002000
			#define DVFS_MIF_L2 1794000
			#define DVFS_MIF_L3 1539000
			#define DVFS_MIF_L4 1352000
			#define DVFS_MIF_L5 1014000
			#define DVFS_MIF_L6 845000
			#define DVFS_MIF_L7 676000
			#define DVFS_MIF_L8 546000
			#define DVFS_MIF_L9 420000

			table0 {
				desc = "default";

				default_int = <DVFS_INT_L0>;
				default_cam = <DVFS_CAM_L0>;
				default_mif = <DVFS_MIF_L0>;
				default_i2c = <0>;

				front2_preview_int = <DVFS_INT_L4>;
				front2_preview_cam = <DVFS_CAM_L2>;
				front2_preview_mif = <DVFS_MIF_L4>;
				front2_preview_i2c = <0>;

				front2_capture_int = <DVFS_INT_L4>;
				front2_capture_cam = <DVFS_CAM_L2>;
				front2_capture_mif = <DVFS_MIF_L4>;
				front2_capture_i2c = <0>;

				front2_video_int = <DVFS_INT_L4>;
				front2_video_cam = <DVFS_CAM_L2>;
				front2_video_mif = <DVFS_MIF_L4>;
				front2_video_i2c = <0>;

				front2_video_capture_int = <DVFS_INT_L4>;
				front2_video_capture_cam = <DVFS_CAM_L2>;
				front2_video_capture_mif = <DVFS_MIF_L4>;
				front2_video_capture_i2c = <0>;

				front_preview_int = <DVFS_INT_L4>;
				front_preview_cam = <DVFS_CAM_L2>;
				front_preview_mif = <DVFS_MIF_L4>;
				front_preview_i2c = <0>;

				front_capture_int = <DVFS_INT_L4>;
				front_capture_cam = <DVFS_CAM_L2>;
				front_capture_mif = <DVFS_MIF_L4>;
				front_capture_i2c = <0>;

				front_video_int = <DVFS_INT_L4>;
				front_video_cam = <DVFS_CAM_L2>;
				front_video_mif = <DVFS_MIF_L4>;
				front_video_i2c = <0>;

				front_vt1_int = <DVFS_INT_L4>;
				front_vt1_cam = <DVFS_CAM_L2>;
				front_vt1_mif = <DVFS_MIF_L7>;
				front_vt1_i2c = <0>;

				front_vt2_int = <DVFS_INT_L4>;
				front_vt2_cam = <DVFS_CAM_L2>;
				front_vt2_mif = <DVFS_MIF_L7>;
				front_vt2_i2c = <0>;

				front_vt4_int = <DVFS_INT_L4>;
				front_vt4_cam = <DVFS_CAM_L2>;
				front_vt4_mif = <DVFS_MIF_L7>;
				front_vt4_i2c = <0>;

				rear_preview_fhd_int = <DVFS_INT_L4>;
				rear_preview_fhd_cam = <DVFS_CAM_L2>;
				rear_preview_fhd_mif = <DVFS_MIF_L3>;
				rear_preview_fhd_i2c = <0>;

				rear_capture_int = <DVFS_INT_L4>;
				rear_capture_cam = <DVFS_CAM_L1>;
				rear_capture_mif = <DVFS_MIF_L3>;
				rear_capture_i2c = <0>;

				rear_video_fhd_int = <DVFS_INT_L4>;
				rear_video_fhd_cam = <DVFS_CAM_L2>;
				rear_video_fhd_mif = <DVFS_MIF_L3>;
				rear_video_fhd_i2c = <0>;

				rear_video_uhd_int = <DVFS_INT_L4>;
				rear_video_uhd_cam = <DVFS_CAM_L2>;
				rear_video_uhd_mif = <DVFS_MIF_L3>;
				rear_video_uhd_i2c = <0>;

				rear_video_fhd_capture_int = <DVFS_INT_L4>;
				rear_video_fhd_capture_cam = <DVFS_CAM_L1>;
				rear_video_fhd_capture_mif = <DVFS_MIF_L3>;
				rear_video_fhd_capture_i2c = <0>;

				rear_video_uhd_capture_int = <DVFS_INT_L4>;
				rear_video_uhd_capture_cam = <DVFS_CAM_L1>;
				rear_video_uhd_capture_mif = <DVFS_MIF_L3>;
				rear_video_uhd_capture_i2c = <0>;

				dual_preview_int = <DVFS_INT_L4>;
				dual_preview_cam = <DVFS_CAM_L1>;
				dual_preview_mif = <DVFS_MIF_L2>;
				dual_preview_i2c = <0>;

				dual_capture_int = <DVFS_INT_L4>;
				dual_capture_cam = <DVFS_CAM_L0>;
				dual_capture_mif = <DVFS_MIF_L2>;
				dual_capture_i2c = <0>;

				dual_video_int = <DVFS_INT_L4>;
				dual_video_cam = <DVFS_CAM_L1>;
				dual_video_mif = <DVFS_MIF_L2>;
				dual_video_i2c = <0>;

				preview_high_speed_fps_int = <DVFS_INT_L4>;
				preview_high_speed_fps_cam = <DVFS_CAM_L2>;
				preview_high_speed_fps_mif = <DVFS_MIF_L5>;
				preview_high_speed_fps_i2c = <0>;

				video_high_speed_60fps_int = <DVFS_INT_L4>;
				video_high_speed_60fps_cam = <DVFS_CAM_L2>;
				video_high_speed_60fps_mif = <DVFS_MIF_L5>;
				video_high_speed_60fps_i2c = <0>;

				video_high_speed_120fps_int = <DVFS_INT_L4>;
				video_high_speed_120fps_cam = <DVFS_CAM_L2>;
				video_high_speed_120fps_mif = <DVFS_MIF_L5>;
				video_high_speed_120fps_i2c = <0>;

				max_int = <DVFS_INT_L0>;
				max_cam = <DVFS_CAM_L0>;
				max_mif = <DVFS_MIF_L0>;
				max_i2c = <0>;
			};

			table1 {
				desc = "DVFS table for HAL3";

				default_int = <DVFS_INT_L0>;
				default_cam = <DVFS_CAM_L0>;
				default_mif = <DVFS_MIF_L0>;
				default_i2c = <0>;

				front2_preview_int = <DVFS_INT_L4>;
				front2_preview_cam = <DVFS_CAM_L2>;
				front2_preview_mif = <DVFS_MIF_L4>;
				front2_preview_i2c = <0>;

				front2_capture_int = <DVFS_INT_L4>;
				front2_capture_cam = <DVFS_CAM_L2>;
				front2_capture_mif = <DVFS_MIF_L4>;
				front2_capture_i2c = <0>;

				front2_video_int = <DVFS_INT_L4>;
				front2_video_cam = <DVFS_CAM_L2>;
				front2_video_mif = <DVFS_MIF_L4>;
				front2_video_i2c = <0>;

				front2_video_capture_int = <DVFS_INT_L4>;
				front2_video_capture_cam = <DVFS_CAM_L2>;
				front2_video_capture_mif = <DVFS_MIF_L4>;
				front2_video_capture_i2c = <0>;

				front_preview_int = <DVFS_INT_L4>;
				front_preview_cam = <DVFS_CAM_L2>;
				front_preview_mif = <DVFS_MIF_L4>;
				front_preview_i2c = <0>;

				front_capture_int = <DVFS_INT_L4>;
				front_capture_cam = <DVFS_CAM_L2>;
				front_capture_mif = <DVFS_MIF_L4>;
				front_capture_i2c = <0>;

				front_video_int = <DVFS_INT_L4>;
				front_video_cam = <DVFS_CAM_L2>;
				front_video_mif = <DVFS_MIF_L4>;
				front_video_i2c = <0>;

				front_vt1_int = <DVFS_INT_L4>;
				front_vt1_cam = <DVFS_CAM_L2>;
				front_vt1_mif = <DVFS_MIF_L7>;
				front_vt1_i2c = <0>;

				front_vt2_int = <DVFS_INT_L4>;
				front_vt2_cam = <DVFS_CAM_L2>;
				front_vt2_mif = <DVFS_MIF_L7>;
				front_vt2_i2c = <0>;

				front_vt4_int = <DVFS_INT_L4>;
				front_vt4_cam = <DVFS_CAM_L2>;
				front_vt4_mif = <DVFS_MIF_L7>;
				front_vt4_i2c = <0>;

				rear_preview_fhd_int = <DVFS_INT_L4>;
				rear_preview_fhd_cam = <DVFS_CAM_L2>;
				rear_preview_fhd_mif = <DVFS_MIF_L3>;
				rear_preview_fhd_i2c = <0>;

				rear_capture_int = <DVFS_INT_L4>;
				rear_capture_cam = <DVFS_CAM_L1>;
				rear_capture_mif = <DVFS_MIF_L3>;
				rear_capture_i2c = <0>;

				rear_video_fhd_int = <DVFS_INT_L4>;
				rear_video_fhd_cam = <DVFS_CAM_L2>;
				rear_video_fhd_mif = <DVFS_MIF_L3>;
				rear_video_fhd_i2c = <0>;

				rear_video_uhd_int = <DVFS_INT_L4>;
				rear_video_uhd_cam = <DVFS_CAM_L2>;
				rear_video_uhd_mif = <DVFS_MIF_L3>;
				rear_video_uhd_i2c = <0>;

				rear_video_fhd_capture_int = <DVFS_INT_L4>;
				rear_video_fhd_capture_cam = <DVFS_CAM_L1>;
				rear_video_fhd_capture_mif = <DVFS_MIF_L3>;
				rear_video_fhd_capture_i2c = <0>;

				rear_video_uhd_capture_int = <DVFS_INT_L4>;
				rear_video_uhd_capture_cam = <DVFS_CAM_L1>;
				rear_video_uhd_capture_mif = <DVFS_MIF_L3>;
				rear_video_uhd_capture_i2c = <0>;

				dual_preview_int = <DVFS_INT_L4>;
				dual_preview_cam = <DVFS_CAM_L1>;
				dual_preview_mif = <DVFS_MIF_L2>;
				dual_preview_i2c = <0>;

				dual_capture_int = <DVFS_INT_L4>;
				dual_capture_cam = <DVFS_CAM_L0>;
				dual_capture_mif = <DVFS_MIF_L2>;
				dual_capture_i2c = <0>;

				dual_video_int = <DVFS_INT_L4>;
				dual_video_cam = <DVFS_CAM_L1>;
				dual_video_mif = <DVFS_MIF_L2>;
				dual_video_i2c = <0>;

				preview_high_speed_fps_int = <DVFS_INT_L4>;
				preview_high_speed_fps_cam = <DVFS_CAM_L2>;
				preview_high_speed_fps_mif = <DVFS_MIF_L5>;
				preview_high_speed_fps_i2c = <0>;

				video_high_speed_60fps_int = <DVFS_INT_L4>;
				video_high_speed_60fps_cam = <DVFS_CAM_L2>;
				video_high_speed_60fps_mif = <DVFS_MIF_L5>;
				video_high_speed_60fps_i2c = <0>;

				video_high_speed_120fps_int = <DVFS_INT_L4>;
				video_high_speed_120fps_cam = <DVFS_CAM_L2>;
				video_high_speed_120fps_mif = <DVFS_MIF_L5>;
				video_high_speed_120fps_i2c = <0>;

				max_int = <DVFS_INT_L0>;
				max_cam = <DVFS_CAM_L0>;
				max_mif = <DVFS_MIF_L0>;
				max_i2c = <0>;
			};
		};
	};

	fimc_is_sensor_3l2: fimc-is_sensor_3l2@2D {
		compatible = "samsung,sensor-module-3l2";

		pinctrl-names = "default", "pin1", "pin2", "release";
		pinctrl-0 = <&fimc_is_mclk0_out>;
		pinctrl-1 = <&fimc_is_mclk0_out>;
		pinctrl-2 = <&fimc_is_mclk0_fn>;
		pinctrl-3 = <>;

		position = <0>;					/* Rear:0. Front:1 */
		id = <0>; 						/* bns_id */
		mclk_ch = <0>;

		gpio_mclk = <&gpc0 0 0x1>;		/* RCAM2_MCLK - XCI0_MCLK */
		gpio_reset = <&gpf3 0 0x1>;		/* RCAM2_RST - XMMC_SDIO_CLK */
		gpio_cam_core_en = <&gpg3 1 0x1>;	/* RCAM2_DVDD_LDO_EN - XGPIO21 */
		gpio_camio_1p8_en = <&gpg2 5 0x1>;	/* RCAM2_LDO_EN - XGPIO17 */
		gpio_camaf_2p8_en = <&gpg2 4 0x1>;	/* RCAM_AF_EN - XGPIO16 */
		status = "okay";

		af {
			product_name = <13>;			/* ACTUATOR_NAME_DW9807 */
			i2c_addr = <0x18>;
			i2c_ch = <2>;
		};

		flash {
			product_name = <11>;		/* S2MU005: FLASH_GPIO */
			flash_first_gpio = <2>;		/* DICO not use first, second gpio value */
			flash_second_gpio = <1>;
		};
	};

	fimc_is_module_sr556: fimc-is_sensor_sr556@20 {
		compatible = "samsung,sensor-module-sr556";

		pinctrl-names = "default", "pin1", "pin2", "release";
		pinctrl-0 = <&fimc_is_mclk2_out>;
		pinctrl-1 = <&fimc_is_mclk2_out>;
		pinctrl-2 = <&fimc_is_mclk2_fn>;
		pinctrl-3 = <>;

		position = <2>;	/* Rear:0. Front:1 */
		id = <2>; /* bns_id */
		mclk_ch = <2>;

		gpio_mclk = <&gpc0 2 0x1>;		/* RCAM1_MCLK - XCI2_MCLK */
		gpio_reset = <&gpf3 1 0x1>;		/* RCAM1_RST - XMMC_SDIO_CMD */
		gpio_cam_1p2_en = <&gpg3 2 0x1>;	/* RCAM1_DVDD_LDO_EN - XGPIO22 */
		gpio_camio_1p8_cam_a2p8_en = <&gpg2 2 0x1>;	/* RCAM1_LDO_EN - XGPIO14 */
		status = "okay";
	};

	fimc_is_sensor_4h5yc_front: fimc-is_sensor_4h5yc_front@6C {
		compatible = "samsung,sensor-module-4h5yc";

		pinctrl-names = "default", "pin1", "pin2", "release";
		pinctrl-0 = <&fimc_is_mclk1_out>;
		pinctrl-1 = <&fimc_is_mclk1_out>;
		pinctrl-2 = <&fimc_is_mclk1_fn>;
		pinctrl-3 = <>;

		position = <1>;	/* Rear:0. Front:1 */
		id = <1>;		/* bns_id */
		mclk_ch = <1>;

		gpio_mclk = <&gpc0 1 0x1>;		/* VTCAM_MCLK */
		gpio_reset = <&gpf3 2 0x1>;		/* VTCAM_RST_N */
		gpio_cam_core_en = <&gpg2 1 0x1>;	/* FCAM_DVDD_LDO_EN */
		gpio_camio_1p8_en = <&gpg3 0 0x1>;	/* FCAM_LDO_IO_EN */
		gpio_cam_2p8_en = <&gpg2 3 0x1>;	/* FCAM_ALDO_EN */
		gpio_eep_pwr_en = <&gpg2 2 0x1>;	/* RCAM1_LDO_EN */
		status = "okay";
	};

	#define SENSOR_SCENARIO_NORMAL		0
	#define SENSOR_SCENARIO_VISION		1
	#define SENSOR_SCENARIO_EXTERNAL	2
	#define SENSOR_SCENARIO_OIS_FACTORY	3
	#define SENSOR_SCENARIO_VIRTUAL		9
	#define FLITE_ID_NOTHING 100

	fimc_is_sensor0: fimc_is_sensor@14410000 {
		scenario = <SENSOR_SCENARIO_NORMAL>;	/* Normal, Vision, OIS etc */
		id = <0>;
		csi_ch = <1>;
		flite_ch = <FLITE_ID_NOTHING>;
		is_bns = <0>;
		is_flite = <0>;
		status = "okay";

		//use_ssvc1_internal; /* just use for pdaf sensor */
	};

	fimc_is_sensor1: fimc_is_sensor@14400000 {
		scenario = <SENSOR_SCENARIO_NORMAL>;	/* Normal, Vision, OIS etc */
		id = <2>;
		csi_ch = <0>;
		flite_ch = <FLITE_ID_NOTHING>;
		is_bns = <0>;
		is_flite = <0>;
		status = "okay";
	};

	fimc_is_sensor2: fimc_is_sensor@14420000 {
		scenario = <SENSOR_SCENARIO_NORMAL>;	/* Normal, Vision, OIS etc */
		id = <1>;
		csi_ch = <2>;
		flite_ch = <FLITE_ID_NOTHING>;
		is_bns = <0>;
		is_flite = <0>;
		status = "okay";
	};

	fimc_is_flash_gpio: fimc-is-flash_gpio@0 {
		compatible = "samsung,sensor-flash-gpio";
		id = <0>; /* Rear  */
		status = "okay";

		flash-gpio = <&gpg1 2 0>;	/* CAM_FLASH_EN - XGPIO6 */
		torch-gpio = <&gpg1 3 0>;	/* CAM_TORCH_EN - XGPIO7 */
	};

	hsi2c_0: hsi2c@138A0000 {
		gpios = <&gpc1 0 0 &gpc1 1 0>;
		status = "okay";
		clock-frequency = <400000>;
		samsung,scl-extended-low-period;

		pinctrl-names = "on_i2c";
		pinctrl-0 = <&hs_i2c0_bus>;

		fimc-is-4h5yc-front@6C {
			compatible = "samsung,exynos5-fimc-is-cis-4h5yc";
			reg = <0x36>; 				/* 1 bit right shift : 7bit address */
			id = <1>;
			sensor_f_number = <190>; 	/* f number 1.9 */
			setfile = "setA";		/* MIPI CLK changed to 684.67 in J7Duo */

			use_initial_ae;			/* for initial AE of face unlock */
		};
	};

	hsi2c_1: hsi2c@138B0000 {
		gpios = <&gpc1 2 0 &gpc1 3 0>;
		status = "okay";
		clock-frequency = <400000>;
		samsung,scl-extended-low-period;

		pinctrl-names = "on_i2c";
		pinctrl-0 = <&hs_i2c1_bus>;

		fimc-is-sr556@20{
		     compatible = "samsung,exynos5-fimc-is-cis-sr556";
		     reg = <0x28>; /* 1 bit right shift */
		     id = <2>; /* matching sensor id */
		     sensor_f_number = <190>; /* f number 1.9 */
		     setfile = "setB";
		};

		front_eeprom@A2 {
			compatible = "samsung,front-eeprom-i2c";
			reg = <0x51>; /* 7bit-addr */
		};
	};

	hsi2c_2: hsi2c@138C0000 {
		gpios = <&gpc1 4 0 &gpc1 5 0>;
		status = "okay";
		clock-frequency = <400000>;
		samsung,scl-extended-low-period;

		pinctrl-names = "on_i2c";
		pinctrl-0 = <&hs_i2c2_bus>;

		rear_eeprom@A2 {
			compatible = "samsung,rear-eeprom-i2c";
			reg = <0x51>; /* 7bit-addr */
		};

		fimc-is-actuator@18 {
			compatible = "samsung,exynos5-fimc-is-actuator-dw9807";
			reg = <0x0C>;
			id = <0>; /* matching sensor id */
		};
	};

	hsi2c_3: hsi2c@138D0000 {
		gpios = <&gpc1 6 0 &gpc1 7 0>;
		status = "okay";
		clock-frequency = <400000>;
		samsung,scl-extended-low-period;

		pinctrl-names = "on_i2c";
		pinctrl-0 = <&hs_i2c3_bus>;

		fimc-is-3l2@2D {
			compatible = "samsung,exynos5-fimc-is-cis-3l2";
			reg = <0x2D>;				/* 1 bit right shift */
			id = <0>;					/* matching sensor id */
			sensor_f_number = <190>;	/* f number 1.9 */
			setfile = "setB";
		};
	};

	abox_gic: abox_gic@0x14AF0000 {
		status = "okay";
	};

	i2c_3: i2c@13860000 {
		status = "okay";
		tfa98xx: tfa98xx@34 {
			compatible = "nxp,tfa98xx";
			#sound-dai-cells = <1>;
			reg = <0x34>;
		};
	};

	abox: abox@0x14A50000 {
		status = "okay";

		/delete-property/ pinctrl-0;
		/delete-property/ pinctrl-1;

		pinctrl-0 = <&aud_codec_mclk &aud_codec_bus &aud_fm_bus &aud_spk_bus &aud_loopback_bus>;
		pinctrl-1 = <&aud_codec_mclk_idle &aud_codec_bus_idle &aud_fm_bus_idle &aud_spk_bus_idle &aud_loopback_bus_idle>;

		abox_synchronized_ipc: abox_synchronized_ipc {
			compatible = "samsung,abox-synchronized-ipc";
			#sound-dai-cells = <1>;
			abox = <&abox>;
		};
	};

	dummy_audio_codec: audio_codec_dummy {
		status = "okay";
		compatible = "snd-soc-dummy";
		#sound-dai-cells = <1>;
	};

	sound {
		status = "okay";
		compatible = "samsung,exynos7885-cod3035";
		mic-bias-mode = <1 1 2 0>;
		clock-names = "xclkout";
		samsung,codec = <&abox>;

		samsung,routing =  "VOUTPUT", "ABOX UAIF0 Playback",
				 "VOUTPUTCALL", "ABOX UAIF2 Playback",
				 "ABOX UAIF2 Capture", "VINPUTCALL",
				 "ABOX SPEEDY Capture", "VINPUTFM",
				 // "SPK", "ABOX UAIF3 Playback",
				 // "ABOX UAIF3 Capture", "VI";
				 "SPK", "AIF Playback-8-34",
				 "AIF Playback-8-34", "ABOX UAIF3 Playback",
				 "ABOX UAIF3 Capture", "AIF Capture-8-34";

		rdma@0 {
			cpu {
				sound-dai = <&abox 0>;
			};
			codec {
				sound-dai = <&dummy_audio_codec>;
			};
		};
		rdma@1 {
			cpu {
				sound-dai = <&abox 1>;
			};
			codec {
				sound-dai = <&dummy_audio_codec>;
			};
		};
		rdma@2 {
			cpu {
				sound-dai = <&abox 2>;
			};
			codec {
				sound-dai = <&dummy_audio_codec>;
			};
		};
		rdma@3 {
			cpu {
				sound-dai = <&abox 3>;
			};
			codec {
				sound-dai = <&dummy_audio_codec>;
			};
		};
		rdma@4 {
			cpu {
				sound-dai = <&abox 4>;
			};
			codec {
				sound-dai = <&dummy_audio_codec>;
			};
		};
		rdma@5 {
			cpu {
				sound-dai = <&abox 5>;
			};
			codec {
				sound-dai = <&dummy_audio_codec>;
			};
		};
		rdma@6 {
			cpu {
				sound-dai = <&abox 6>;
			};
			codec {
				sound-dai = <&dummy_audio_codec>;
			};
		};
		rdma@7 {
			cpu {
				sound-dai = <&abox 7>;
			};
			codec {
				sound-dai = <&dummy_audio_codec>;
			};
		};
		wdma@0 {
			cpu {
				sound-dai = <&abox 8>;
			};
			codec {
				sound-dai = <&dummy_audio_codec>;
			};
		};
		wdma@1 {
			cpu {
				sound-dai = <&abox 9>;
			};
			codec {
				sound-dai = <&dummy_audio_codec>;
			};
		};
		wdma@2 {
			cpu {
				sound-dai = <&abox 10>;
			};
			codec {
				sound-dai = <&dummy_audio_codec>;
			};
		};
		wdma@3 {
			cpu {
				sound-dai = <&abox 11>;
			};
			codec {
				sound-dai = <&dummy_audio_codec>;
			};
		};
		wdma@4 {
			cpu {
				sound-dai = <&abox 12>;
			};
			codec {
				sound-dai = <&dummy_audio_codec>;
			};
		};
		uaif@0 {
			cpu {
				sound-dai = <&abox 13>;
			};
			codec {
				sound-dai = <&audio_codec_cod3035x>;
			};
		};
		uaif@1 {
			cpu {
				sound-dai = <&abox 14>;
			};
			codec {
				sound-dai = <&dummy_audio_codec>;
			};
		};
		uaif@2 {
			cpu {
				sound-dai = <&abox 15>;
			};
			codec {
				sound-dai = <&dummy_audio_codec>;
			};
		};
		uaif@3 {
			cpu {
				sound-dai = <&abox 16>;
			};
			platform {
				sound-dai = <&abox_synchronized_ipc 0>;
			};
			codec {
				sound-dai = <&tfa98xx 0>;
			};
		};
		internal@0 {
			cpu {
				sound-dai = <&abox 17>;
			};
			codec {
				sound-dai = <&dummy_audio_codec>;
			};
		};
		speedy@0 {
			cpu {
				sound-dai = <&abox 18>;
			};
			codec {
				sound-dai = <&dummy_audio_codec>;
			};
		};
	};

	pinctrl@11CB0000 {

		nfc_clk: nfc-clk {
			samsung,pins = "gpq0-0";
			samsung,pin-function = <2>;
			samsung,pin-pud = <0>;
		};
	};

	pinctrl@139B0000 {
		nfc_pvdd_en: nfc_pvdd_en {
				samsung,pins = "gpp6-4";
				samsung,pin-function = <1>;
				samsung,pin-pud = <0>;
				samsung,pin-val = <0>;
				samsung,pin-con-pdn = <3>;
				samsung,pin-pud-pdn = <0>;
		};

		nfc_firm: nfc_firm {
			samsung,pins = "gpp3-2";
			samsung,pin-function = <1>;
			samsung,pin-pud = <0>;
			samsung,pin-val = <0>;
			samsung,pin-con-pdn = <3>;
			samsung,pin-pud-pdn = <0>;
		};

		nfc_pd: nfc_pd {
			samsung,pins = "gpp2-2";
			samsung,pin-function = <2>;
			samsung,pin-pud = <0>;
			samsung,pin-drv = <0>;
			samsung,pin-con-pdn = <3>;
			samsung,pin-pud-pdn = <0>;
		};

		nfc_clk_req: nfc_clk_req {
			samsung,pins = "gpp2-3";
			samsung,pin-function = <2>;
			samsung,pin-pud = <1>;
			samsung,pin-drv = <0>;
			samsung,pin-con-pdn = <3>;
			samsung,pin-pud-pdn = <0>;
		};
	};

	pinctrl@11CB0000 {
		acc_int: acc_int {
			samsung,pins = "gpa0-3";
			samsung,pin-function = <0>;
			samsung,pin-pud = <0>;
			samsung,pin-drv = <0>;
		};

		prox_int: prox_int {
			samsung,pins = "gpa0-4";
			samsung,pin-function = <0>;
			samsung,pin-pud = <0>;
			samsung,pin-drv = <0>;
		};

		sensor_en: sensor-en {
			samsung,pins = "gpa1-1";
			samsung,pin-function = <1>;
			samsung,pin-pud = <0>;
			samsung,pin-val = <1>;
			samsung,pin-drv = <0>;
		};

		prox_led_en: prox-led-en {
			samsung,pins = "gpa1-2";
			samsung,pin-function = <1>;
			samsung,pin-pud = <0>;
			samsung,pin-val = <1>;
			samsung,pin-drv = <0>;
		};
	};

	i2c_6: i2c@13890000 {
		status = "okay";
		#address-cells = <1>;
		#size-cells = <0>;
		pinctrl-names = "default";
		pinctrl-0 = <&prox_led_en &i2c6_bus>;

		stk3013@48 {
			compatible = "stk,stk3013";
			reg = <0x48>;
			interrupt-parent = <&gpa0>;
			interrupts = <4 0 0>;
			pinctrl-names = "default";
			pinctrl-0 = <&prox_int>;
			stk,irq-gpio = <&gpa0 4 0x00>;
			stk,state-reg = <0x2c>;
			stk,psctrl-reg = <0x71>;
			stk,alsctrl-reg = <0x2A>;
			stk,ledctrl-reg = <0xBF>;
			stk,wait-reg = <0x03>;
			stk,ps-thd-h = <23>;
			stk,ps-thd-l = <15>;
			stk,ps-cancel-thd-h = <13>;
			stk,ps-cancel-thd-l = <10>;
			stk,ps-cal-skip-adc = <10>;
			stk,ps-cal-fail-adc = <23>;
			stk,ps-default-offset = <5>;
			stk,transmittance = <500>;
		};
	};

	sec_abc {
		compatible = "samsung,sec_abc";
		status = "okay";

		gpu {
			gpu,label="GPU fault";
			gpu,threshold_count=<20>;
			gpu,threshold_time=<1200>;
		};
		aicl {
			aicl,label="battery aicl";
			aicl,threshold_count=<5>;
			aicl,threshold_time=<300>;
		};
	};

	argos {
		compatible = "samsung,argos";
		#address-cells = <1>;
		/*  The device number should be assigned for each device, e.g. "boot_device@1" and "boot_device@2".
		 * Duplicated number is not allowed. Please refer the below example.
		 */

		/* Table Format should be
		 * <Throughput(Mbps) ARM_min ARM_max KFC_min KFC_max MIF INT Task IRQ HMP_boost>
		 * ARM_min : Big Core's minimum frequency lock. 0 means not set,
		 * ARM_max : Big Core's maximum frequency lock. 0 means not set,
		 * KFC_min : Little Core's minimum frequency lock. 0 means not set,
		 * KFC_max : Little Core's maximum frequency lock. 0 means not set,
		 * MIF : MIF frequency lock. 0 means not set,
		 * INT : INT frequency lock. 0 means not set,
		 * Task : 1 - Set task affinity lock.
		 *	0 - Not set or unlock,
		 *		Task affinity should be predefined driver's code.
		 * IRQ : 1 - Set irq affinity lock.
		 *       0 - Not set or unlock,
		 *		Task affinity should be predefined driver's code.
		 * HMP_boots : 1 - Increase hmp boosting count
		 *             0 - Decrease hmp boosting count
		 */

		/*
		 * boot_device@9 {
		 *	net_boost,label="WIFI RX";
		 *	net_boost,node="wlan0";
		 *	net_boost,table_size = <4>;
		 *	net_boost,table= <
		 *		5  2002000 0 1690000 0 0 0 0 0 0
		 *		10 2002000 0 1690000 0 0 0 0 0 0
		 *		20 2002000 0 1690000 0 845000 400000 1 1 1
		 *		30 2002000 0 1690000 0 1352000 533000 1 1 1
		 *		>;
		 * };
		 */
	};

	cpufreq {
		domain@1 {
			max-freq = <1560000>;

			dm-constraints {
				mif-perf {
					table = < 1560000 1794000
						1352000 1352000
						1144000 1014000
						936000  546000
						728000  420000>;
				};
			};
		};
	};

	cpufreq-ufc {
		/* Ctrl Type */
		#define PM_QOS_MIN_LIMIT		0
		#define PM_QOS_MIN_WO_BOOST_LIMIT	1
		#define PM_QOS_MAX_LIMIT		2
		/* Execution Mode */
		#define	AARCH64_MODE			0
		#define AARCH32_MODE			1

		domain@0 {
			device_type = "cpufreq-userctrl";
			shared-cpus = "0-5";

			user-default-qos = <839000>;
		};

		domain@1 {
			device_type = "cpufreq-userctrl";
			shared-cpus = "6-7";

			user-default-qos = <936000>;

			min-limit {
				ctrl-type = <PM_QOS_MIN_LIMIT>;
				execution-mode = <AARCH64_MODE>;
					/* big	    lit */
				table = < 1560000  1586000
					  1352000  839000
					  1144000  839000
					   936000  839000
					   728000  839000 >;
			};

			max-limit {
				ctrl-type = <PM_QOS_MAX_LIMIT>;
				execution-mode = <AARCH64_MODE>;
					/* big	    lit */
				table = < 1560000 1586000
					  1352000 1586000
					  1144000 1352000
					   936000 1248000
					   728000 1248000 >;
			};
		};
	};
};

